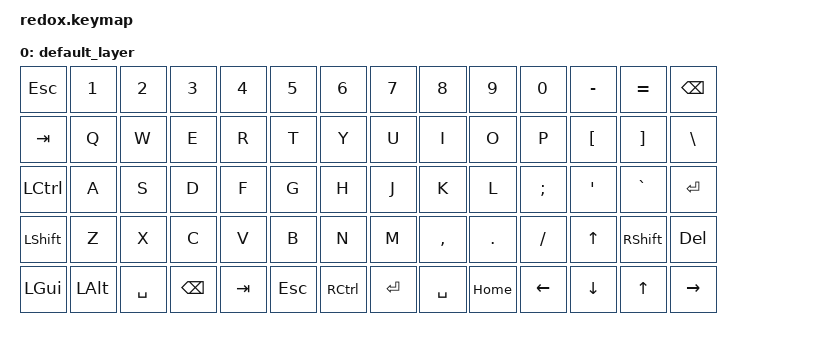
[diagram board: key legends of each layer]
#include <behaviors.dtsi>
#include <dt-bindings/zmk/keys.h>
#include <dt-bindings/zmk/bt.h>

/*
 * Redox handwire - starting keymap.
 *
 * The goal of THIS layer is only that every physical key registers something
 * when you test. The legend-to-physical-key mapping almost certainly won't be
 * perfect on the first flash (that's normal for a handwire). Press each key,
 * see what appears, then rearrange the bindings below so each key sits where
 * you want it.
 *
 * Each row below is 14 keys: 7 left, then 7 right.
 */

/ {
    keymap {
        compatible = "zmk,keymap";

        default_layer {
            bindings = <
&kp ESC   &kp N1  &kp N2  &kp N3  &kp N4  &kp N5     &kp N6      &kp N7  &kp N8    &kp N9   &kp N0    &kp MINUS &kp EQUAL &kp BSPC
&kp TAB   &kp Q   &kp W   &kp E   &kp R   &kp T      &kp Y       &kp U   &kp I     &kp O    &kp P     &kp LBKT  &kp RBKT  &kp BSLH
&kp LCTRL &kp A   &kp S   &kp D   &kp F   &kp G      &kp H       &kp J   &kp K     &kp L    &kp SEMI  &kp SQT   &kp GRAVE &kp RET
&kp LSHFT &kp Z   &kp X   &kp C   &kp V   &kp B      &kp N       &kp M   &kp COMMA &kp DOT  &kp FSLH  &kp UP    &kp RSHFT &kp DEL
&kp LGUI  &kp LALT &kp SPACE &kp BSPC &kp TAB &kp ESC  &kp RCTRL  &kp RET &kp SPACE &kp HOME &kp LEFT &kp DOWN  &kp UP    &kp RIGHT
            >;
        };
    };
};
